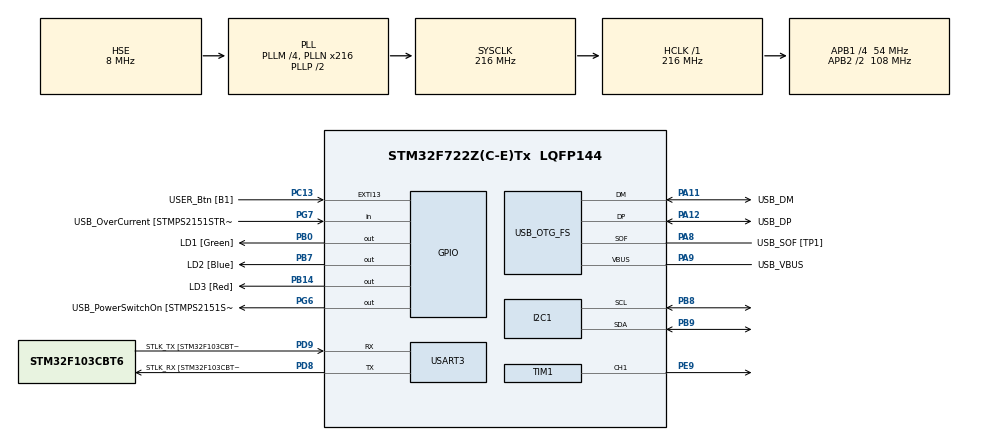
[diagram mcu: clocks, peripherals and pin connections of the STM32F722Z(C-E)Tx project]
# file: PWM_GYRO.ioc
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Dma.I2C1_RX.1.Direction=DMA_PERIPH_TO_MEMORY
Dma.I2C1_RX.1.FIFOMode=DMA_FIFOMODE_DISABLE
Dma.I2C1_RX.1.Instance=DMA1_Stream0
Dma.I2C1_RX.1.MemDataAlignment=DMA_MDATAALIGN_BYTE
Dma.I2C1_RX.1.MemInc=DMA_MINC_ENABLE
Dma.I2C1_RX.1.Mode=DMA_NORMAL
Dma.I2C1_RX.1.PeriphDataAlignment=DMA_PDATAALIGN_BYTE
Dma.I2C1_RX.1.PeriphInc=DMA_PINC_DISABLE
Dma.I2C1_RX.1.Priority=DMA_PRIORITY_LOW
Dma.Request0=TIM1_CH1
Dma.Request1=I2C1_RX
Dma.TIM1_CH1.0.Direction=DMA_MEMORY_TO_PERIPH
Dma.TIM1_CH1.0.FIFOMode=DMA_FIFOMODE_DISABLE
Dma.TIM1_CH1.0.Instance=DMA2_Stream1
Dma.TIM1_CH1.0.MemDataAlignment=DMA_MDATAALIGN_HALFWORD
Dma.TIM1_CH1.0.MemInc=DMA_MINC_ENABLE
Dma.TIM1_CH1.0.Mode=DMA_NORMAL
Dma.TIM1_CH1.0.PeriphDataAlignment=DMA_PDATAALIGN_HALFWORD
Dma.TIM1_CH1.0.PeriphInc=DMA_PINC_DISABLE
Dma.TIM1_CH1.0.Priority=DMA_PRIORITY_LOW
I2C1.Timing=0x20404768
Mcu.Family=STM32F7
Mcu.Name=STM32F722Z(C-E)Tx
Mcu.Package=LQFP144
NVIC.DMA1_Stream0_IRQn=true\:0\:0\:false\:false\:true\:false\:true\:true
NVIC.DMA2_Stream1_IRQn=true\:0\:0\:false\:false\:true\:false\:true\:true
NVIC.I2C1_EV_IRQn=true\:0\:0\:false\:false\:true\:true\:true\:true
NVIC.PriorityGroup=NVIC_PRIORITYGROUP_4
PA10.GPIO_Label=USB_ID
PA10.Signal=USB_OTG_FS_ID
PA11.GPIO_Label=USB_DM
PA11.Mode=Device_Only
PA11.Signal=USB_OTG_FS_DM
PA12.GPIO_Label=USB_DP
PA12.Mode=Device_Only
PA12.Signal=USB_OTG_FS_DP
PA13.GPIO_Label=TMS
PA13.Mode=Serial_Wire
PA13.Signal=SYS_JTMS-SWDIO
PA14.GPIO_Label=TCK
PA14.Mode=Serial_Wire
PA14.Signal=SYS_JTCK-SWCLK
PA8.GPIO_Label=USB_SOF [TP1]
PA8.Mode=Activate_SOF_FS
PA8.Signal=USB_OTG_FS_SOF
PA9.GPIO_Label=USB_VBUS
PA9.Mode=Activate_VBUS
PA9.Signal=USB_OTG_FS_VBUS
PB0.GPIO_Label=LD1 [Green]
PB0.Signal=GPIO_Output
PB14.GPIO_Label=LD3 [Red]
PB14.Signal=GPIO_Output
PB3.GPIO_Label=SWO
PB3.Signal=SYS_JTDO-SWO
PB7.GPIO_Label=LD2 [Blue]
PB7.Signal=GPIO_Output
PB8.Mode=I2C
PB8.Signal=I2C1_SCL
PB9.Mode=I2C
PB9.Signal=I2C1_SDA
PC13.GPIO_Label=USER_Btn [B1]
PC13.Signal=GPXTI13
PC14-OSC32_IN.Mode=LSE-External-Oscillator
PC14-OSC32_IN.Signal=RCC_OSC32_IN
PC15-OSC32_OUT.Mode=LSE-External-Oscillator
PC15-OSC32_OUT.Signal=RCC_OSC32_OUT
PD8.GPIO_Label=STLK_RX [STM32F103CBT6_PA3]
PD8.Mode=Asynchronous
PD8.Signal=USART3_TX
PD9.GPIO_Label=STLK_TX [STM32F103CBT6_PA2]
PD9.Mode=Asynchronous
PD9.Signal=USART3_RX
PE9.Signal=S_TIM1_CH1
PG6.GPIO_Label=USB_PowerSwitchOn [STMPS2151STR_EN]
PG6.Signal=GPIO_Output
PG7.GPIO_Label=USB_OverCurrent [STMPS2151STR_FAULT]
PG7.Signal=GPIO_Input
PH0-OSC_IN.GPIO_Label=MCO
PH0-OSC_IN.Mode=HSE-External-Clock-Source
PH0-OSC_IN.Signal=RCC_OSC_IN
PH1-OSC_OUT.Mode=HSE-External-Clock-Source
PH1-OSC_OUT.Signal=RCC_OSC_OUT
ProjectManager.HeapSize=0x200
ProjectManager.StackSize=0x400
ProjectManager.TargetToolchain=STM32CubeIDE
RCC.48MHZClocksFreq_Value=24000000
RCC.AHBFreq_Value=216000000
RCC.APB1CLKDivider=RCC_HCLK_DIV4
RCC.APB1Freq_Value=54000000
RCC.APB1TimFreq_Value=108000000
RCC.APB2CLKDivider=RCC_HCLK_DIV2
RCC.APB2Freq_Value=108000000
RCC.APB2TimFreq_Value=216000000
RCC.CortexFreq_Value=216000000
RCC.HCLKFreq_Value=216000000
RCC.HSE_VALUE=8000000
RCC.HSI_VALUE=16000000
RCC.PLLM=4
RCC.PLLMUL=RCC_PLL_MUL9
RCC.PLLN=216
RCC.PLLQ=9
RCC.PRESCALERUSB=RCC_USBCLKSOURCE_PLL_DIV1_5
RCC.SYSCLKFreq_VALUE=216000000
RCC.SYSCLKSource=RCC_SYSCLKSOURCE_PLLCLK
RCC.SYSCLKSourceVirtual=RCC_SYSCLKSOURCE_PLLCLK
RCC.USBFreq_Value=48000000
RCC.VCOOutputFreq_Value=432000000
SH.S_TIM1_CH1.0=TIM1_CH1,PWM Generation1 CH1
TIM1.Channel-PWM\ Generation1\ CH1=TIM_CHANNEL_1
TIM1.Period=1200
TIM1.Prescaler=3600
USART3.VirtualMode-Asynchronous=VM_ASYNC
USB_OTG_FS.VirtualMode=Device_Only
VP_TIM1_VS_ClockSourceINT.Mode=Internal
board=NUCLEO-F722ZE

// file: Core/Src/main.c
/* USER CODE BEGIN Header */
/**
  ******************************************************************************
  * @file           : main.c
  * @brief          : Main program body
  ******************************************************************************
  * @attention
  *
  * Copyright (c) 2023 STMicroelectronics.
  * All rights reserved.
  *
  * This software is licensed under terms that can be found in the LICENSE file
  * in the root directory of this software component.
  * If no LICENSE file comes with this software, it is provided AS-IS.
  *
  ******************************************************************************
  */
/* USER CODE END Header */
#include "main.h"

/* USER CODE BEGIN Includes */
#include <stdio.h>
#include <stdlib.h>
/* USER CODE END Includes */

I2C_HandleTypeDef hi2c1;
DMA_HandleTypeDef hdma_i2c1_rx;

TIM_HandleTypeDef htim1;
DMA_HandleTypeDef hdma_tim1_ch1;

UART_HandleTypeDef huart3;

PCD_HandleTypeDef hpcd_USB_OTG_FS;

/* USER CODE BEGIN PV */
uint16_t pwmData1[10] = { 60, 62, 64, 66, 68, 70, 72, 74, 76 };
uint16_t pwmData2[10] = { 64, 66, 68, 70, 72, 74, 76, 78, 80 };
uint8_t sd_direction = 0;
/* USER CODE END PV */

void SystemClock_Config(void);
static void MX_GPIO_Init(void);
static void MX_DMA_Init(void);
static void MX_USB_OTG_FS_PCD_Init(void);
static void MX_USART3_UART_Init(void);
static void MX_TIM1_Init(void);
static void MX_I2C1_Init(void);
/* USER CODE BEGIN PFP */
#define MPU6050_ADDR		0xD0

#define SMPLRT_DIV_REG		0x19
#define GYRO_CONFIG_REG		0x1B
#define ACCEL_CONFIG_REG	0x1C
#define ACCEL_XOUT_H_REG	0x3B
#define TEMP_OUT_H_REG		0x41
#define GYRO_XOUT_H_REG		0x43
#define PWR_MGMT_1_REG		0x6B
#define WHO_AM_I_REG		0x75

int16_t Accel_X_RAW, Accel_Y_RAW, Accel_Z_RAW;
int16_t Gyro_X_RAW, Gyro_Y_RAW, Gyro_Z_RAW;
/*
static double Ax, Ay, Az;
static double Gx, Gy, Gz;
*/
/* USER CODE END PFP */

/* USER CODE BEGIN 0 */
void HAL_I2C_MasterRxCpltCallback (I2C_HandleTypeDef * hi2c)
{
  // RX Done .. Do Something!
	HAL_GPIO_WritePin( GPIOB, LD1_Pin, GPIO_PIN_SET );
}

void PWM_send()
{
	if( sd_direction == 0 ) HAL_TIM_PWM_Start_DMA( &htim1, TIM_CHANNEL_1, (uint32_t*)pwmData1, sizeof(pwmData1) );
	else HAL_TIM_PWM_Start_DMA( &htim1, TIM_CHANNEL_1, (uint32_t*)pwmData2, sizeof(pwmData2) );
	sd_direction ^= 0x01;
}

void HAL_TIM_PWM_PulseFinishedCallback(TIM_HandleTypeDef *htim)
{
	HAL_GPIO_TogglePin( GPIOB, LD2_Pin );
	PWM_send();
}

HAL_StatusTypeDef MPU6050_Init( void )
{
	uint8_t check;

	if( HAL_I2C_Mem_Read_IT( &hi2c1, MPU6050_ADDR, WHO_AM_I_REG, 1, &check, 1 ) != HAL_OK ){
		return HAL_ERROR;
	}
	return HAL_OK;
/*
	if( check == 104 ){
		// power management register 0x6B
		data = 0x00;
		if( HAL_I2C_Mem_Write( &hi2c1, MPU6050_ADDR, PWR_MGMT_1_REG, 1, &data, 1, 1000 ) != HAL_OK ) return HAL_ERROR;
		// set data rate of 1kHz
		data = 0x07;
		if( HAL_I2C_Mem_Write( &hi2c1, MPU6050_ADDR, SMPLRT_DIV_REG, 1, &data, 1, 1000 ) != HAL_OK ) return HAL_ERROR;
		// set accel config
		// XA_ST = 0, YA_ST = 0, ZA_ST = 0, FS_SEL = 0 -> +- 2g
		data = 0x00;
		if( HAL_I2C_Mem_Write( &hi2c1, MPU6050_ADDR, ACCEL_CONFIG_REG, 1, &data, 1, 1000 ) != HAL_OK ) return HAL_ERROR;
		// set gyro config
		// XG_ST = 0; YG_ST = 0; ZG_ST = 0; FS_SEL = 0 -> +- 250 o/s
		data = 0x00;
		if( HAL_I2C_Mem_Write( &hi2c1, MPU6050_ADDR, GYRO_XOUT_H_REG, 1, &data, 1, 1000 ) != HAL_OK ) return HAL_ERROR;
		return HAL_OK;
	}*/
	return HAL_ERROR;
}

void MPU6050_Read_Accel( )
{
//	uint8_t rec_data[6];

//	HAL_I2C_Mem_Read_IT( &hi2c1, MPU6050_ADDR, ACCEL_XOUT_H_REG, 1, rec_data, 6 );
/*
	Accel_X_RAW = (int16_t)( rec_data[0] << 8 | rec_data[1] );
	Accel_Y_RAW = (int16_t)( rec_data[2] << 8 | rec_data[3] );
	Accel_Z_RAW = (int16_t)( rec_data[4] << 8 | rec_data[5] );

	Ax = (float)Accel_X_RAW/16384.0;
	Ay = (float)Accel_Y_RAW/16384.0;
	Az = (float)Accel_Z_RAW/16384.0;*/

}

void MPU6050_Read_Gyro( )
{
/*	uint8_t rec_data[6];

	HAL_I2C_Mem_Read( &hi2c1, MPU6050_ADDR, GYRO_XOUT_H_REG, 1, rec_data, 6, 1000 );

	Gyro_X_RAW = (int16_t)( rec_data[0] << 8 | rec_data[1] );
	Gyro_Y_RAW = (int16_t)( rec_data[2] << 8 | rec_data[3] );
	Gyro_Z_RAW = (int16_t)( rec_data[4] << 8 | rec_data[5] );

	Gx = (float)Gyro_X_RAW/131.0;
	Gy = (float)Gyro_Y_RAW/131.0;
	Gz = (float)Gyro_Z_RAW/131.0;*/
}
/* USER CODE END 0 */

int main(void)
{

  /* MCU Configuration--------------------------------------------------------*/

  /* Reset of all peripherals, Initializes the Flash interface and the Systick. */
  HAL_Init();

  /* Configure the system clock */
  SystemClock_Config();

  /* Initialize all configured peripherals */
  MX_GPIO_Init();
  MX_DMA_Init();
  MX_USB_OTG_FS_PCD_Init();
  MX_USART3_UART_Init();
  MX_TIM1_Init();
  MX_I2C1_Init();
  /* USER CODE BEGIN 2 */

//  PWM_send();

  char _str[50];
  uint8_t _str_len;
/*
  if( MPU6050_Init() != HAL_OK ){
	  _str_len = sprintf(_str, "\r\nFail to init MPY6050.\r\n" );
	  HAL_UART_Transmit( &huart3, (uint8_t *)_str, _str_len, 100 );
  }
  else{
	  _str_len = sprintf(_str, "\r\nSuccess to init MPY6050.\r\n" );
	  HAL_UART_Transmit( &huart3, (uint8_t *)_str, _str_len, 100 );
  }
*/
  _str_len = sprintf(_str, "\r\nSuccess to init MPY6050.\r\n" );
  HAL_UART_Transmit( &huart3, (uint8_t *)_str, _str_len, 100 );

  MPU6050_Read_Accel();
  MPU6050_Read_Gyro();
  /* USER CODE END 2 */

  /* Infinite loop */
  while (1)
  {

    /* USER CODE BEGIN 3 */
/*	  if( MPU6050_Init() != HAL_OK ){
		  _str_len = sprintf(_str, "\r\nFail to init MPY6050.\r\n" );
		  HAL_UART_Transmit( &huart3, (uint8_t *)_str, _str_len, 100 );
	  }
	  else{
		  _str_len = sprintf(_str, "\r\nSuccess to init MPY6050.\r\n" );
		  HAL_UART_Transmit( &huart3, (uint8_t *)_str, _str_len, 100 );
	  }*/
/*	  MPU6050_Read_Accel();
	  MPU6050_Read_Gyro();

	  int i_ax = Ax * 100000;
	  int i_ay = Ay * 100000;
	  int i_az = Az * 100000;
	  _str_len = sprintf(_str, "\r\nAccel: ax:%d ay:%d az:%d\r\n", i_ax, i_ay, i_az );
	  HAL_UART_Transmit( &huart3, (uint8_t *)_str, _str_len, 100 );

	  int i_gx = Gx * 1000;
	  int i_gy = Gy * 1000;
	  int i_gz = Gz * 1000;
	  _str_len = sprintf(_str, "Gyro: gx:%d gy:%d gz:%d\r\n", i_gx, i_gy, i_gz );
	  HAL_UART_Transmit( &huart3, (uint8_t *)_str, _str_len, 100 );
*/
	  HAL_GPIO_TogglePin( GPIOB, LD3_Pin );
	  HAL_Delay( 500 );
  }
  /* USER CODE END 3 */
}

void SystemClock_Config(void)
{
  RCC_OscInitTypeDef RCC_OscInitStruct = {0};
  RCC_ClkInitTypeDef RCC_ClkInitStruct = {0};

  /** Configure LSE Drive Capability
  */
  HAL_PWR_EnableBkUpAccess();

  /** Configure the main internal regulator output voltage
  */
  __HAL_RCC_PWR_CLK_ENABLE();
  __HAL_PWR_VOLTAGESCALING_CONFIG(PWR_REGULATOR_VOLTAGE_SCALE1);

  /** Initializes the RCC Oscillators according to the specified parameters
  * in the RCC_OscInitTypeDef structure.
  */
  RCC_OscInitStruct.OscillatorType = RCC_OSCILLATORTYPE_HSE;
  RCC_OscInitStruct.HSEState = RCC_HSE_BYPASS;
  RCC_OscInitStruct.PLL.PLLState = RCC_PLL_ON;
  RCC_OscInitStruct.PLL.PLLSource = RCC_PLLSOURCE_HSE;
  RCC_OscInitStruct.PLL.PLLM = 4;
  RCC_OscInitStruct.PLL.PLLN = 216;
  RCC_OscInitStruct.PLL.PLLP = RCC_PLLP_DIV2;
  RCC_OscInitStruct.PLL.PLLQ = 9;
  if (HAL_RCC_OscConfig(&RCC_OscInitStruct) != HAL_OK)
  {
    Error_Handler();
  }

  /** Activate the Over-Drive mode
  */
  if (HAL_PWREx_EnableOverDrive() != HAL_OK)
  {
    Error_Handler();
  }

  /** Initializes the CPU, AHB and APB buses clocks
  */
  RCC_ClkInitStruct.ClockType = RCC_CLOCKTYPE_HCLK|RCC_CLOCKTYPE_SYSCLK
                              |RCC_CLOCKTYPE_PCLK1|RCC_CLOCKTYPE_PCLK2;
  RCC_ClkInitStruct.SYSCLKSource = RCC_SYSCLKSOURCE_PLLCLK;
  RCC_ClkInitStruct.AHBCLKDivider = RCC_SYSCLK_DIV1;
  RCC_ClkInitStruct.APB1CLKDivider = RCC_HCLK_DIV4;
  RCC_ClkInitStruct.APB2CLKDivider = RCC_HCLK_DIV2;

  if (HAL_RCC_ClockConfig(&RCC_ClkInitStruct, FLASH_LATENCY_7) != HAL_OK)
  {
    Error_Handler();
  }
}

static void MX_I2C1_Init(void)
{

  hi2c1.Instance = I2C1;
  hi2c1.Init.Timing = 0x20404768;
  hi2c1.Init.OwnAddress1 = 0;
  hi2c1.Init.AddressingMode = I2C_ADDRESSINGMODE_7BIT;
  hi2c1.Init.DualAddressMode = I2C_DUALADDRESS_DISABLE;
  hi2c1.Init.OwnAddress2 = 0;
  hi2c1.Init.OwnAddress2Masks = I2C_OA2_NOMASK;
  hi2c1.Init.GeneralCallMode = I2C_GENERALCALL_DISABLE;
  hi2c1.Init.NoStretchMode = I2C_NOSTRETCH_DISABLE;
  if (HAL_I2C_Init(&hi2c1) != HAL_OK)
  {
    Error_Handler();
  }

  /** Configure Analogue filter
  */
  if (HAL_I2CEx_ConfigAnalogFilter(&hi2c1, I2C_ANALOGFILTER_ENABLE) != HAL_OK)
  {
    Error_Handler();
  }

  /** Configure Digital filter
  */
  if (HAL_I2CEx_ConfigDigitalFilter(&hi2c1, 0) != HAL_OK)
  {
    Error_Handler();
  }

}

static void MX_TIM1_Init(void)
{

  TIM_ClockConfigTypeDef sClockSourceConfig = {0};
  TIM_MasterConfigTypeDef sMasterConfig = {0};
  TIM_OC_InitTypeDef sConfigOC = {0};
  TIM_BreakDeadTimeConfigTypeDef sBreakDeadTimeConfig = {0};

  htim1.Instance = TIM1;
  htim1.Init.Prescaler = 3600;
  htim1.Init.CounterMode = TIM_COUNTERMODE_UP;
  htim1.Init.Period = 1200;
  htim1.Init.ClockDivision = TIM_CLOCKDIVISION_DIV1;
  htim1.Init.RepetitionCounter = 0;
  htim1.Init.AutoReloadPreload = TIM_AUTORELOAD_PRELOAD_DISABLE;
  if (HAL_TIM_Base_Init(&htim1) != HAL_OK)
  {
    Error_Handler();
  }
  sClockSourceConfig.ClockSource = TIM_CLOCKSOURCE_INTERNAL;
  if (HAL_TIM_ConfigClockSource(&htim1, &sClockSourceConfig) != HAL_OK)
  {
    Error_Handler();
  }
  if (HAL_TIM_PWM_Init(&htim1) != HAL_OK)
  {
    Error_Handler();
  }
  sMasterConfig.MasterOutputTrigger = TIM_TRGO_RESET;
  sMasterConfig.MasterOutputTrigger2 = TIM_TRGO2_RESET;
  sMasterConfig.MasterSlaveMode = TIM_MASTERSLAVEMODE_DISABLE;
  if (HAL_TIMEx_MasterConfigSynchronization(&htim1, &sMasterConfig) != HAL_OK)
  {
    Error_Handler();
  }
  sConfigOC.OCMode = TIM_OCMODE_PWM1;
  sConfigOC.Pulse = 0;
  sConfigOC.OCPolarity = TIM_OCPOLARITY_HIGH;
  sConfigOC.OCNPolarity = TIM_OCNPOLARITY_HIGH;
  sConfigOC.OCFastMode = TIM_OCFAST_DISABLE;
  sConfigOC.OCIdleState = TIM_OCIDLESTATE_RESET;
  sConfigOC.OCNIdleState = TIM_OCNIDLESTATE_RESET;
  if (HAL_TIM_PWM_ConfigChannel(&htim1, &sConfigOC, TIM_CHANNEL_1) != HAL_OK)
  {
    Error_Handler();
  }
  sBreakDeadTimeConfig.OffStateRunMode = TIM_OSSR_DISABLE;
  sBreakDeadTimeConfig.OffStateIDLEMode = TIM_OSSI_DISABLE;
  sBreakDeadTimeConfig.LockLevel = TIM_LOCKLEVEL_OFF;
  sBreakDeadTimeConfig.DeadTime = 0;
  sBreakDeadTimeConfig.BreakState = TIM_BREAK_DISABLE;
  sBreakDeadTimeConfig.BreakPolarity = TIM_BREAKPOLARITY_HIGH;
  sBreakDeadTimeConfig.BreakFilter = 0;
  sBreakDeadTimeConfig.Break2State = TIM_BREAK2_DISABLE;
  sBreakDeadTimeConfig.Break2Polarity = TIM_BREAK2POLARITY_HIGH;
  sBreakDeadTimeConfig.Break2Filter = 0;
  sBreakDeadTimeConfig.AutomaticOutput = TIM_AUTOMATICOUTPUT_DISABLE;
  if (HAL_TIMEx_ConfigBreakDeadTime(&htim1, &sBreakDeadTimeConfig) != HAL_OK)
  {
    Error_Handler();
  }
  HAL_TIM_MspPostInit(&htim1);

}

static void MX_USART3_UART_Init(void)
{

  huart3.Instance = USART3;
  huart3.Init.BaudRate = 115200;
  huart3.Init.WordLength = UART_WORDLENGTH_8B;
  huart3.Init.StopBits = UART_STOPBITS_1;
  huart3.Init.Parity = UART_PARITY_NONE;
  huart3.Init.Mode = UART_MODE_TX_RX;
  huart3.Init.HwFlowCtl = UART_HWCONTROL_NONE;
  huart3.Init.OverSampling = UART_OVERSAMPLING_16;
  huart3.Init.OneBitSampling = UART_ONE_BIT_SAMPLE_DISABLE;
  huart3.AdvancedInit.AdvFeatureInit = UART_ADVFEATURE_NO_INIT;
  if (HAL_UART_Init(&huart3) != HAL_OK)
  {
    Error_Handler();
  }

}

static void MX_USB_OTG_FS_PCD_Init(void)
{

  hpcd_USB_OTG_FS.Instance = USB_OTG_FS;
  hpcd_USB_OTG_FS.Init.dev_endpoints = 6;
  hpcd_USB_OTG_FS.Init.speed = PCD_SPEED_FULL;
  hpcd_USB_OTG_FS.Init.dma_enable = DISABLE;
  hpcd_USB_OTG_FS.Init.phy_itface = PCD_PHY_EMBEDDED;
  hpcd_USB_OTG_FS.Init.Sof_enable = ENABLE;
  hpcd_USB_OTG_FS.Init.low_power_enable = DISABLE;
  hpcd_USB_OTG_FS.Init.lpm_enable = DISABLE;
  hpcd_USB_OTG_FS.Init.battery_charging_enable = ENABLE;
  hpcd_USB_OTG_FS.Init.vbus_sensing_enable = ENABLE;
  hpcd_USB_OTG_FS.Init.use_dedicated_ep1 = DISABLE;
  if (HAL_PCD_Init(&hpcd_USB_OTG_FS) != HAL_OK)
  {
    Error_Handler();
  }

}

static void MX_DMA_Init(void)
{

  /* DMA controller clock enable */
  __HAL_RCC_DMA2_CLK_ENABLE();
  __HAL_RCC_DMA1_CLK_ENABLE();

  /* DMA interrupt init */
  /* DMA1_Stream0_IRQn interrupt configuration */
  HAL_NVIC_SetPriority(DMA1_Stream0_IRQn, 0, 0);
  HAL_NVIC_EnableIRQ(DMA1_Stream0_IRQn);
  /* DMA2_Stream1_IRQn interrupt configuration */
  HAL_NVIC_SetPriority(DMA2_Stream1_IRQn, 0, 0);
  HAL_NVIC_EnableIRQ(DMA2_Stream1_IRQn);

}

static void MX_GPIO_Init(void)
{
  GPIO_InitTypeDef GPIO_InitStruct = {0};

  /* GPIO Ports Clock Enable */
  __HAL_RCC_GPIOC_CLK_ENABLE();
  __HAL_RCC_GPIOH_CLK_ENABLE();
  __HAL_RCC_GPIOB_CLK_ENABLE();
  __HAL_RCC_GPIOE_CLK_ENABLE();
  __HAL_RCC_GPIOD_CLK_ENABLE();
  __HAL_RCC_GPIOG_CLK_ENABLE();
  __HAL_RCC_GPIOA_CLK_ENABLE();

  /*Configure GPIO pin Output Level */
  HAL_GPIO_WritePin(GPIOB, LD1_Pin|LD3_Pin|LD2_Pin, GPIO_PIN_RESET);

  /*Configure GPIO pin Output Level */
  HAL_GPIO_WritePin(USB_PowerSwitchOn_GPIO_Port, USB_PowerSwitchOn_Pin, GPIO_PIN_RESET);

  /*Configure GPIO pin : USER_Btn_Pin */
  GPIO_InitStruct.Pin = USER_Btn_Pin;
  GPIO_InitStruct.Mode = GPIO_MODE_IT_RISING;
  GPIO_InitStruct.Pull = GPIO_NOPULL;
  HAL_GPIO_Init(USER_Btn_GPIO_Port, &GPIO_InitStruct);

  /*Configure GPIO pins : LD1_Pin LD3_Pin LD2_Pin */
  GPIO_InitStruct.Pin = LD1_Pin|LD3_Pin|LD2_Pin;
  GPIO_InitStruct.Mode = GPIO_MODE_OUTPUT_PP;
  GPIO_InitStruct.Pull = GPIO_NOPULL;
  GPIO_InitStruct.Speed = GPIO_SPEED_FREQ_LOW;
  HAL_GPIO_Init(GPIOB, &GPIO_InitStruct);

  /*Configure GPIO pin : USB_PowerSwitchOn_Pin */
  GPIO_InitStruct.Pin = USB_PowerSwitchOn_Pin;
  GPIO_InitStruct.Mode = GPIO_MODE_OUTPUT_PP;
  GPIO_InitStruct.Pull = GPIO_NOPULL;
  GPIO_InitStruct.Speed = GPIO_SPEED_FREQ_LOW;
  HAL_GPIO_Init(USB_PowerSwitchOn_GPIO_Port, &GPIO_InitStruct);

  /*Configure GPIO pin : USB_OverCurrent_Pin */
  GPIO_InitStruct.Pin = USB_OverCurrent_Pin;
  GPIO_InitStruct.Mode = GPIO_MODE_INPUT;
  GPIO_InitStruct.Pull = GPIO_NOPULL;
  HAL_GPIO_Init(USB_OverCurrent_GPIO_Port, &GPIO_InitStruct);

}

void Error_Handler(void)
{
  __disable_irq();
  while (1)
  {
  }
}
